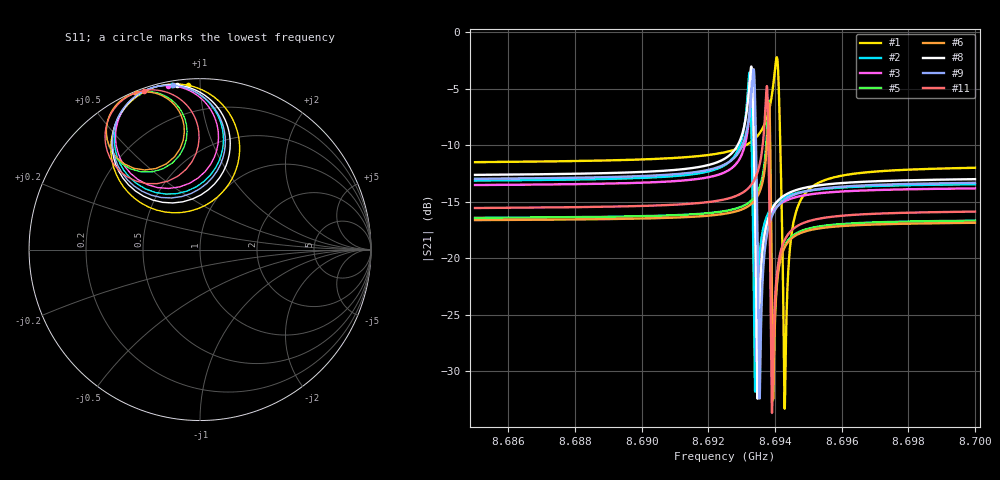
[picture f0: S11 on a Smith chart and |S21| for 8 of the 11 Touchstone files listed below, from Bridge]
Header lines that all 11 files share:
! Sonnet Data File
! From: emgraph Version : 16.52
!< PARAMS
!< END PARAMS
# GHZ S MA R 34.70000
Fixed: Lj = 11.0, Gap = 6.0, Pwid = 2000.0, Width = 10.0
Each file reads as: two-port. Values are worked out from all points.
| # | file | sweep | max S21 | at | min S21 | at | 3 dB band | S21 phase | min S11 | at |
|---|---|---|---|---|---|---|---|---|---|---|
| 1 | Xodd_D50_Bw8.s2p | 8.685 GHz to 8.7 GHz | -2.21 dB | 8.69406 GHz | -33.3 dB | 8.69429 GHz | 8.69393 GHz-8.69412 GHz | 2 deg at 8.6925 GHz | -12.7 dB | 8.69407 GHz |
| 2 | Xodd_D124_Bw28.s2p | 8.685 GHz to 8.7 GHz | -3.55 dB | 8.69323 GHz | -31.8 dB | 8.69341 GHz | 8.69316 GHz-8.69327 GHz | 7 deg at 8.6925 GHz | -9.1 dB | 8.69324 GHz |
| 3 | Xodd_D124_Bw50.s2p | 8.685 GHz to 8.7 GHz | -3.98 dB | 8.69332 GHz | -31.4 dB | 8.69347 GHz | 8.69324 GHz-8.69336 GHz | 9 deg at 8.6925 GHz | -8.3 dB | 8.69333 GHz |
| 4 | Xodd_D350_W20.s2p | 8.685 GHz to 8.7 GHz | -5.33 dB | 8.69378 GHz | -33.1 dB | 8.69392 GHz | 8.69373 GHz-8.69381 GHz | 19 deg at 8.6925 GHz | -6.3 dB | 8.69379 GHz |
| 5 | Xodd_D350_W40.s2p | 8.685 GHz to 8.7 GHz | -6.03 dB | 8.69381 GHz | -32.6 dB | 8.69393 GHz | 8.69376 GHz-8.69384 GHz | 21 deg at 8.6925 GHz | -5.7 dB | 8.69382 GHz |
| 6 | Xodd_D350_W50.s2p | 8.685 GHz to 8.7 GHz | -6.32 dB | 8.69383 GHz | -32.5 dB | 8.69394 GHz | 8.69378 GHz-8.69385 GHz | 21 deg at 8.6925 GHz | -5.4 dB | 8.69383 GHz |
| 7 | Xodd_test.s2p | 8 GHz to 9.6 GHz | -9.20 dB | 8.693 GHz | -30.0 dB | 8.694 GHz | 9.347 GHz-9.6 GHz | 7 deg at 8.8 GHz | -0.6 dB | 8.693 GHz |
| 8 | Xodd_W8_D124.s2p | 8.685 GHz to 8.7 GHz | -3.03 dB | 8.69329 GHz | -32.4 dB | 8.69348 GHz | 8.69319 GHz-8.69333 GHz | 5 deg at 8.6925 GHz | -10.5 dB | 8.6933 GHz |
| 9 | Xodd_W8_D150.s2p | 8.685 GHz to 8.7 GHz | -3.27 dB | 8.69336 GHz | -32.4 dB | 8.69354 GHz | 8.69327 GHz-8.6934 GHz | 7 deg at 8.6925 GHz | -9.7 dB | 8.69337 GHz |
| 10 | Xodd_W8_D250.s2p | 8.685 GHz to 8.7 GHz | -4.06 dB | 8.69394 GHz | -32.7 dB | 8.6941 GHz | 8.69387 GHz-8.69398 GHz | 13 deg at 8.6925 GHz | -8.0 dB | 8.69394 GHz |
| 11 | Xodd_W8_D350.s2p | 8.685 GHz to 8.7 GHz | -4.76 dB | 8.69375 GHz | -33.7 dB | 8.69391 GHz | 8.69369 GHz-8.69379 GHz | 18 deg at 8.6925 GHz | -7.1 dB | 8.69377 GHz |
